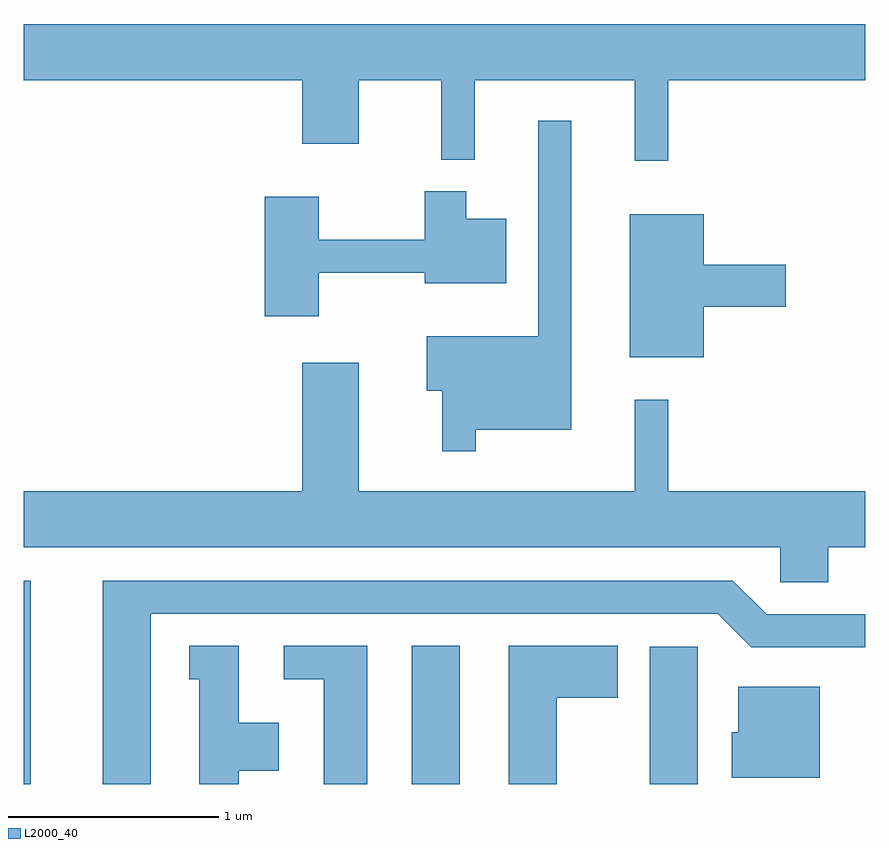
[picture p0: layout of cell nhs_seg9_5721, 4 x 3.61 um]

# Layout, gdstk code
import gdstk
lib = gdstk.Library(unit=1e-6, precision=1e-09)
def R(c, l, rs):  # rectangles x0, y0, x1, y1
    for r in rs: c.add(gdstk.rectangle(r[:2], r[2:], *l))
def P(c, l, *ps):  # polygons
    for p in ps: c.add(gdstk.Polygon(p, *l))
L2000_40 = (2000, 40)

nhs_seg9_5721 = lib.new_cell('nhs_seg9_5721')
R(nhs_seg9_5721, L2000_40, [(353.611,2028.432,353.644,2029.399), (355.456,2028.432,355.684,2029.089), (356.586,2028.432,356.814,2029.084)])
P(nhs_seg9_5721, L2000_40, [(356.674,2031.776),(357.611,2031.776),(357.611,2032.044),(353.611,2032.044),(353.611,2031.776),(354.936,2031.776),(354.936,2031.476),(355.204,2031.476),(355.204,2031.776),(355.596,2031.776),(355.596,2031.398),(355.754,2031.398),(355.754,2031.776),(356.516,2031.776),(356.516,2031.393),(356.674,2031.393)],
  [(355.759,2030.116),(356.214,2030.116),(356.214,2031.583),(356.056,2031.583),(356.056,2030.559),(355.526,2030.559),(355.526,2030.301),(355.601,2030.301),(355.601,2030.013),(355.759,2030.013)],
  [(355.014,2030.861),(355.516,2030.861),(355.516,2030.811),(355.904,2030.811),(355.904,2031.119),(355.714,2031.119),(355.714,2031.249),(355.516,2031.249),(355.516,2031.019),(355.014,2031.019),(355.014,2031.224),(354.756,2031.224),(354.756,2030.656),(355.014,2030.656)],
  [(356.844,2030.701),(357.234,2030.701),(357.234,2030.899),(356.844,2030.899),(356.844,2031.139),(356.491,2031.139),(356.491,2030.461),(356.844,2030.461)],
  [(357.434,2029.556),(357.611,2029.556),(357.611,2029.824),(356.674,2029.824),(356.674,2030.258),(356.516,2030.258),(356.516,2029.824),(355.204,2029.824),(355.204,2030.434),(354.936,2030.434),(354.936,2029.824),(353.611,2029.824),(353.611,2029.556),(357.206,2029.556),(357.206,2029.391),(357.434,2029.391)],
  [(354.214,2029.241),(356.909,2029.241),(357.069,2029.081),(357.611,2029.081),(357.611,2029.239),(357.142,2029.239),(356.982,2029.399),(353.986,2029.399),(353.986,2028.432),(354.214,2028.432)],
  [(355.244,2029.089),(354.848,2029.089),(354.848,2028.931),(355.036,2028.931),(355.036,2028.432),(355.244,2028.432)],
  [(354.634,2028.496),(354.824,2028.496),(354.824,2028.724),(354.634,2028.724),(354.634,2029.089),(354.398,2029.089),(354.398,2028.931),(354.446,2028.931),(354.446,2028.432),(354.634,2028.432)],
  [(356.144,2028.841),(356.434,2028.841),(356.434,2029.089),(355.916,2029.089),(355.916,2028.432),(356.144,2028.432)],
  [(357.394,2028.894),(357.006,2028.894),(357.006,2028.679),(356.976,2028.679),(356.976,2028.461),(357.394,2028.461)])

lib.write_gds('nhs_seg9_5721.gds')
